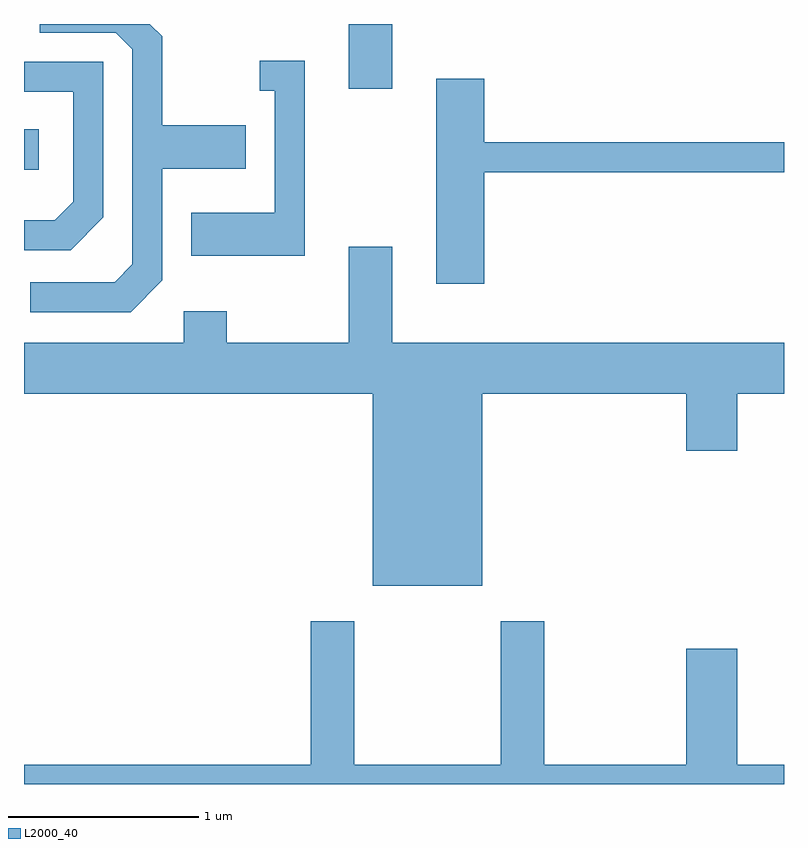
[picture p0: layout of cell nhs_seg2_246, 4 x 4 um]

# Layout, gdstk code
import gdstk
lib = gdstk.Library(unit=1e-6, precision=1e-09)
def R(c, l, rs):  # rectangles x0, y0, x1, y1
    for r in rs: c.add(gdstk.rectangle(r[:2], r[2:], *l))
def P(c, l, *ps):  # polygons
    for p in ps: c.add(gdstk.Polygon(p, *l))
L2000_40 = (2000, 40)

nhs_seg2_246 = lib.new_cell('nhs_seg2_246')
R(nhs_seg2_246, L2000_40, [(191.611,1065.036,191.689,1065.249), (193.321,1065.461,193.549,1065.802)])
P(nhs_seg2_246, L2000_40, [(192.339,1064.454),(192.339,1065.041),(192.779,1065.041),(192.779,1065.269),(192.339,1065.269),(192.339,1065.737),(192.274,1065.802),(191.693,1065.802),(191.693,1065.756),(192.094,1065.756),(192.181,1065.669),(192.181,1064.537),(192.089,1064.444),(191.643,1064.444),(191.643,1064.286),(192.172,1064.286)],
  [(193.089,1065.609),(192.853,1065.609),(192.853,1065.451),(192.931,1065.451),(192.931,1064.809),(192.491,1064.809),(192.491,1064.581),(193.089,1064.581)],
  [(192.029,1064.784),(192.029,1065.604),(191.611,1065.604),(191.611,1065.446),(191.871,1065.446),(191.871,1064.867),(191.774,1064.769),(191.611,1064.769),(191.611,1064.611),(191.857,1064.611)],
  [(194.034,1065.021),(195.611,1065.021),(195.611,1065.179),(194.034,1065.179),(194.034,1065.514),(193.781,1065.514),(193.781,1064.436),(194.034,1064.436)],
  [(194.024,1063.856),(195.096,1063.856),(195.096,1063.556),(195.364,1063.556),(195.364,1063.856),(195.611,1063.856),(195.611,1064.124),(193.549,1064.124),(193.549,1064.629),(193.321,1064.629),(193.321,1064.124),(192.679,1064.124),(192.679,1064.289),(192.451,1064.289),(192.451,1064.124),(191.611,1064.124),(191.611,1063.856),(193.446,1063.856),(193.446,1062.846),(194.024,1062.846)],
  [(195.611,1061.904),(195.364,1061.904),(195.364,1062.514),(195.096,1062.514),(195.096,1061.904),(194.349,1061.904),(194.349,1062.659),(194.121,1062.659),(194.121,1061.904),(193.349,1061.904),(193.349,1062.659),(193.121,1062.659),(193.121,1061.904),(191.611,1061.904),(191.611,1061.802),(195.611,1061.802)])

lib.write_gds('nhs_seg2_246.gds')
